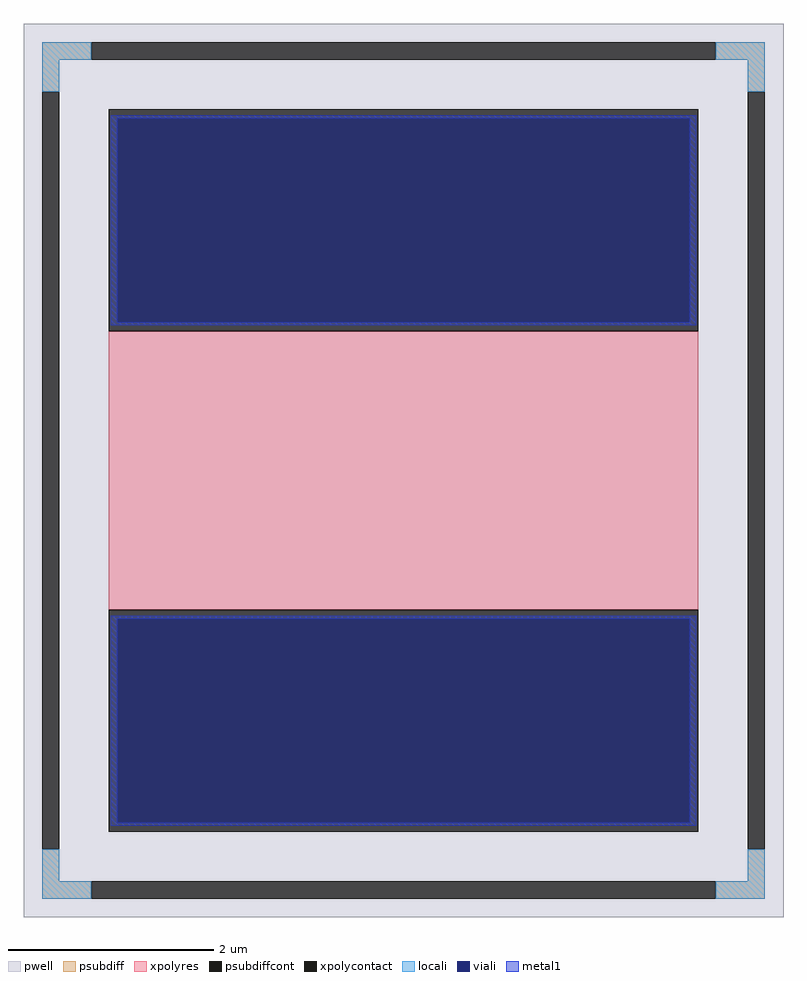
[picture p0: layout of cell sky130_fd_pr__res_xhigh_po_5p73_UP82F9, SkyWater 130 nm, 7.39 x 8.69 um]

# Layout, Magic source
magic
tech sky130A
magscale 1 2
<< pwell >>
rect -739 -869 739 869
<< psubdiff >>
rect -703 799 -607 833
rect 607 799 703 833
rect -703 737 -669 799
rect 669 737 703 799
rect -703 -799 -669 -737
rect 669 -799 703 -737
rect -703 -833 -607 -799
rect 607 -833 703 -799
<< psubdiffcont >>
rect -607 799 607 833
rect -703 -737 -669 737
rect 669 -737 703 737
rect -607 -833 607 -799
<< xpolycontact >>
rect -573 271 573 703
rect -573 -703 573 -271
<< xpolyres >>
rect -573 -271 573 271
<< locali >>
rect -703 799 -607 833
rect 607 799 703 833
rect -703 737 -669 799
rect 669 737 703 799
rect -703 -799 -669 -737
rect 669 -799 703 -737
rect -703 -833 -607 -799
rect 607 -833 703 -799
<< viali >>
rect -557 288 557 685
rect -557 -685 557 -288
<< metal1 >>
rect -569 685 569 691
rect -569 288 -557 685
rect 557 288 569 685
rect -569 282 569 288
rect -569 -288 569 -282
rect -569 -685 -557 -288
rect 557 -685 569 -288
rect -569 -691 569 -685
<< properties >>
string FIXED_BBOX -686 -816 686 816
string gencell sky130_fd_pr__res_xhigh_po_5p73
string library sky130
string parameters w 5.730 l 2.87 m 1 nx 1 wmin 5.730 lmin 0.50 class resistor rho 2000 val 1.067k dummy 0 dw 0.0 term 188.2 sterm 0.0 caplen 0 wmax 5.730 guard 1 glc 1 grc 1 gtc 1 gbc 1 compatible {sky130_fd_pr__res_xhigh_po_0p35  sky130_fd_pr__res_xhigh_po_0p69 sky130_fd_pr__res_xhigh_po_1p41  sky130_fd_pr__res_xhigh_po_2p85 sky130_fd_pr__res_xhigh_po_5p73} snake 0 full_metal 1 n_guard 0 hv_guard 0 vias 1 viagb 0 viagt 0 viagl 0 viagr 0 mult 1
<< end >>
